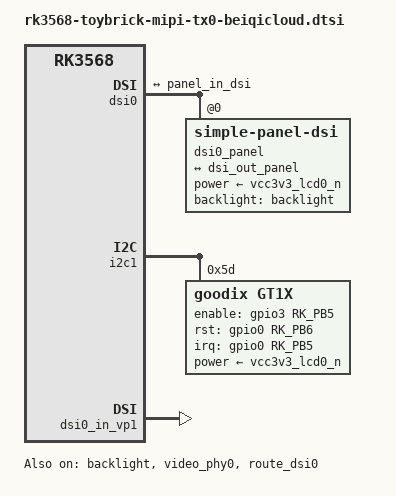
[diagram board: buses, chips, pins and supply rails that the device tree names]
/*
 * Copyright (c) 2019 Fuzhou Rockchip Electronics Co., Ltd
 *
 * This file is dual-licensed: you can use it either under the terms
 * of the GPL or the X11 license, at your option. Note that this dual
 * licensing only applies to this file, and not this project as a
 * whole.
 *
 *  a) This file is free software; you can redistribute it and/or
 *     modify it under the terms of the GNU General Public License as
 *     published by the Free Software Foundation; either version 2 of the
 *     License, or (at your option) any later version.
 *
 *     This file is distributed in the hope that it will be useful,
 *     but WITHOUT ANY WARRANTY; without even the implied warranty of
 *     MERCHANTABILITY or FITNESS FOR A PARTICULAR PURPOSE.  See the
 *     GNU General Public License for more details.
 *
 * Or, alternatively,
 *
 *  b) Permission is hereby granted, free of charge, to any person
 *     obtaining a copy of this software and associated documentation
 *     files (the "Software"), to deal in the Software without
 *     restriction, including without limitation the rights to use,
 *     copy, modify, merge, publish, distribute, sublicense, and/or
 *     sell copies of the Software, and to permit persons to whom the
 *     Software is furnished to do so, subject to the following
 *     conditions:
 *
 *     The above copyright notice and this permission notice shall be
 *     included in all copies or substantial portions of the Software.
 *
 *     THE SOFTWARE IS PROVIDED "AS IS", WITHOUT WARRANTY OF ANY KIND,
 *     EXPRESS OR IMPLIED, INCLUDING BUT NOT LIMITED TO THE WARRANTIES
 *     OF MERCHANTABILITY, FITNESS FOR A PARTICULAR PURPOSE AND
 *     NONINFRINGEMENT. IN NO EVENT SHALL THE AUTHORS OR COPYRIGHT
 *     HOLDERS BE LIABLE FOR ANY CLAIM, DAMAGES OR OTHER LIABILITY,
 *     WHETHER IN AN ACTION OF CONTRACT, TORT OR OTHERWISE, ARISING
 *     FROM, OUT OF OR IN CONNECTION WITH THE SOFTWARE OR THE USE OR
 *     OTHER DEALINGS IN THE SOFTWARE.
 */

/ {
	compatible = "rockchip,rk3568-toybrick-mipi-tx0", "rockchip,rk3568";
};

/*
 * mipi_dphy0 needs to be enabled
 * when dsi0 is enabled
 */
&dsi0 {
	status = "okay";

	 dsi0_panel: panel@0 {
		compatible = "simple-panel-dsi";
		reg = <0>;
		backlight = <&backlight>;
	//	power-supply = <&lcd_pwr>;
		prepare-delay-ms = <2>;
                reset-delay-ms = <100>;
		init-delay-ms = <20>;
		pinctrl-names = "default";
		pinctrl-0 = <&mipi_power_en>;
		enable-delay-ms = <120>;
		disable-delay-ms = <50>;
		unprepare-delay-ms = <20>;
		width-mm = <68>;
		height-mm = <121>;

		dsi,flags = <(MIPI_DSI_MODE_VIDEO | MIPI_DSI_MODE_VIDEO_BURST |
			      MIPI_DSI_MODE_LPM | MIPI_DSI_MODE_EOT_PACKET)>;
		dsi,format = <MIPI_DSI_FMT_RGB888>;
		dsi,lanes = <4>;
		pnel-type = <5>;

		panel-init-sequence = [
						05 64 01 11 
                	        		                                39 00 04 FF 98 81 03
						15 00 02 01 00
						15 00 02 02 00
						15 00 02 03 72
						15 00 02 04 00
						15 00 02 05 00
						15 00 02 06 09
						15 00 02 07 00
						15 00 02 08 00
						15 00 02 09 01
						15 00 02 0A 00
						15 00 02 0B 00
						15 00 02 0C 01
						15 00 02 0D 00
						15 00 02 0E 00
						15 00 02 0F 00
						15 00 02 10 00
						15 00 02 11 00
						15 00 02 12 00
						15 00 02 13 00
						15 00 02 14 00
						15 00 02 15 00
						15 00 02 16 00
						15 00 02 17 00
						15 00 02 18 00
						15 00 02 19 00
						15 00 02 1A 00
						15 00 02 1B 00
						15 00 02 1C 00
						15 00 02 1D 00
						15 00 02 1E 40
						15 00 02 1F 80
						15 00 02 20 05
						15 00 02 21 02
						15 00 02 22 00
						15 00 02 23 00
						15 00 02 24 00
						15 00 02 25 00
						15 00 02 26 00
						15 00 02 27 00
						15 00 02 28 33
						15 00 02 29 02
						15 00 02 2A 00
						15 00 02 2B 00
						15 00 02 2C 00
						15 00 02 2D 00
						15 00 02 2E 00
						15 00 02 2F 00
						15 00 02 30 00
						15 00 02 31 00
						15 00 02 32 00
						15 00 02 33 00
						15 00 02 34 04
						15 00 02 35 00
						15 00 02 36 00
						15 00 02 37 00
						15 00 02 38 3C
						15 00 02 39 00
						15 00 02 3A 40
						15 00 02 3B 40
						15 00 02 3C 00
						15 00 02 3D 00
						15 00 02 3E 00
						15 00 02 3F 00
						15 00 02 40 00
						15 00 02 41 00
						15 00 02 42 00
						15 00 02 43 00
						15 00 02 44 00
						15 00 02 50 01
						15 00 02 51 23
						15 00 02 52 45
						15 00 02 53 67
						15 00 02 54 89
						15 00 02 55 AB
						15 00 02 56 01
						15 00 02 57 23
						15 00 02 58 45
						15 00 02 59 67
						15 00 02 5A 89
						15 00 02 5B AB
						15 00 02 5C CD
						15 00 02 5D EF
						15 00 02 5E 11
						15 00 02 5F 01
						15 00 02 60 00
						15 00 02 61 15
						15 00 02 62 14
						15 00 02 63 0E
						15 00 02 64 0F
						15 00 02 65 0C
						15 00 02 66 0D
						15 00 02 67 06
						15 00 02 68 02
						15 00 02 69 02
						15 00 02 6A 02
						15 00 02 6B 02
						15 00 02 6C 02
						15 00 02 6D 02
						15 00 02 6E 07
						15 00 02 6F 02
						15 00 02 70 02
						15 00 02 71 02
						15 00 02 72 02
						15 00 02 73 02
						15 00 02 74 02
						15 00 02 75 01
						15 00 02 76 00
						15 00 02 77 14
						15 00 02 78 15
						15 00 02 79 0E
						15 00 02 7A 0F
						15 00 02 7B 0C
						15 00 02 7C 0D
						15 00 02 7D 06
						15 00 02 7E 02
						15 00 02 7F 02
						15 00 02 80 02
						15 00 02 81 02
						15 00 02 82 02
						15 00 02 83 02
						15 00 02 84 07
						15 00 02 85 02
						15 00 02 86 02
						15 00 02 87 02
						15 00 02 88 02
						15 00 02 89 02
						15 00 02 8A 02
						39 00 04 FF 98 81 04
						15 00 02 6C 15
						15 00 02 6E 2A
						15 00 02 6F 33
						15 00 02 3A 94
						15 00 02 8D 1A
						15 00 02 87 BA
						15 00 02 26 76
						15 00 02 B2 D1
						15 00 02 B5 06
						39 00 04 FF 98 81 01
						15 00 02 22 0A
						15 00 02 31 00
						15 00 02 40 13
						15 00 02 53 84
						15 00 02 55 8F
						15 00 02 50 AE
						15 00 02 51 AE
						15 00 02 60 28
						15 00 02 A0 0F
						15 00 02 A1 1B
						15 00 02 A2 28
						15 00 02 A3 12
						15 00 02 A4 15
						15 00 02 A5 28
						15 00 02 A6 1B
						15 00 02 A7 1E
						15 00 02 A8 79
						15 00 02 A9 1B
						15 00 02 AA 27
						15 00 02 AB 69
						15 00 02 AC 19
						15 00 02 AD 18
						15 00 02 AE 4C
						15 00 02 AF 21
						15 00 02 B0 28
						15 00 02 B1 52
						15 00 02 B2 65
						15 00 02 C0 04
						15 00 02 C1 1B
						15 00 02 C2 27
						15 00 02 C3 13
						15 00 02 C4 15
						15 00 02 C5 28
						15 00 02 C6 1C
						15 00 02 C7 1E
						15 00 02 C8 79
						15 00 02 C9 1A
						15 00 02 CA 27
						15 00 02 CB 69
						15 00 02 CC 1A
						15 00 02 CD 18
						15 00 02 CE 4C
						15 00 02 CF 21
						15 00 02 D0 27
						15 00 02 D1 52
						15 00 02 D2 65
						15 00 02 D3 3F
						39 00 04 FF 98 81 00
						
						05 32 01 29
						15 00 02 35 00	
                ];

                panel-exit-sequence = [
                        05 32 01 28
                        05 C8 01 10
                ];

                disp_timings:display-timings {
                        native-mode = <&dsi0_timing0>;

                        dsi0_timing0: timing0 {
                                clock-frequency = <75000000>;
                                hactive = <720>;
                                vactive = <1280>;
                                hfront-porch = <40>;
                                hsync-len = <10>;
                                hback-porch = <40>;
                                vfront-porch = <10>;
                                vsync-len = <36>;
                                vback-porch = <15>;
                                hsync-active = <0>;
                                vsync-active = <0>;
                                de-active = <0>;
                                pixelclk-active = <0>;
                        };
                };

		ports {
			#address-cells = <1>;
			#size-cells = <0>;

			port@0 {
				reg = <0>;
				panel_in_dsi: endpoint {
					remote-endpoint = <&dsi_out_panel>;
				};
			};
		};
	};

	ports {
		#address-cells = <1>;
		#size-cells = <0>;

		port@1 {
			reg = <1>;
			dsi_out_panel: endpoint {
				remote-endpoint = <&panel_in_dsi>;
			};
		};
	};

};

&i2c1 {
	status = "okay";

	gt1x: gt1x@5d {
		compatible = "goodix,gt1x";
		reg = <0x5d>;
		pinctrl-names = "default";
		power-supply = <&vcc3v3_lcd0_n>;
		pinctrl-0 = <&touch_gpio>;
		goodix,ic_type = "gt5688";
		goodix,enable-gpio = <&gpio3 RK_PB5 GPIO_ACTIVE_HIGH>;
		goodix,rst-gpio = <&gpio0 RK_PB6 GPIO_ACTIVE_HIGH>;
		goodix,irq-gpio = <&gpio0 RK_PB5 IRQ_TYPE_LEVEL_LOW>;
	};
};

&dsi1 {
	status = "disabled";
};

&dsi0_in_vp0 {
	status = "disabled";
};

&dsi0_in_vp1 {
	status = "okay";
};

&dsi0_panel {
	power-supply = <&vcc3v3_lcd0_n>;
};

&backlight {
	status = "okay";
};

&video_phy0 {
	status = "okay";
};

&vcc3v3_lcd0_n {
	gpio = <&gpio0 RK_PC7 GPIO_ACTIVE_HIGH>;
	enable-active-high;
};

&route_dsi0 {
	status = "okay";
};

&pinctrl {
	mipi_pwren {
		mipi_power_en: mipi_power_en {
			rockchip,pins = <3 RK_PB5 RK_FUNC_GPIO &pcfg_output_high>;
		};
	};
};
